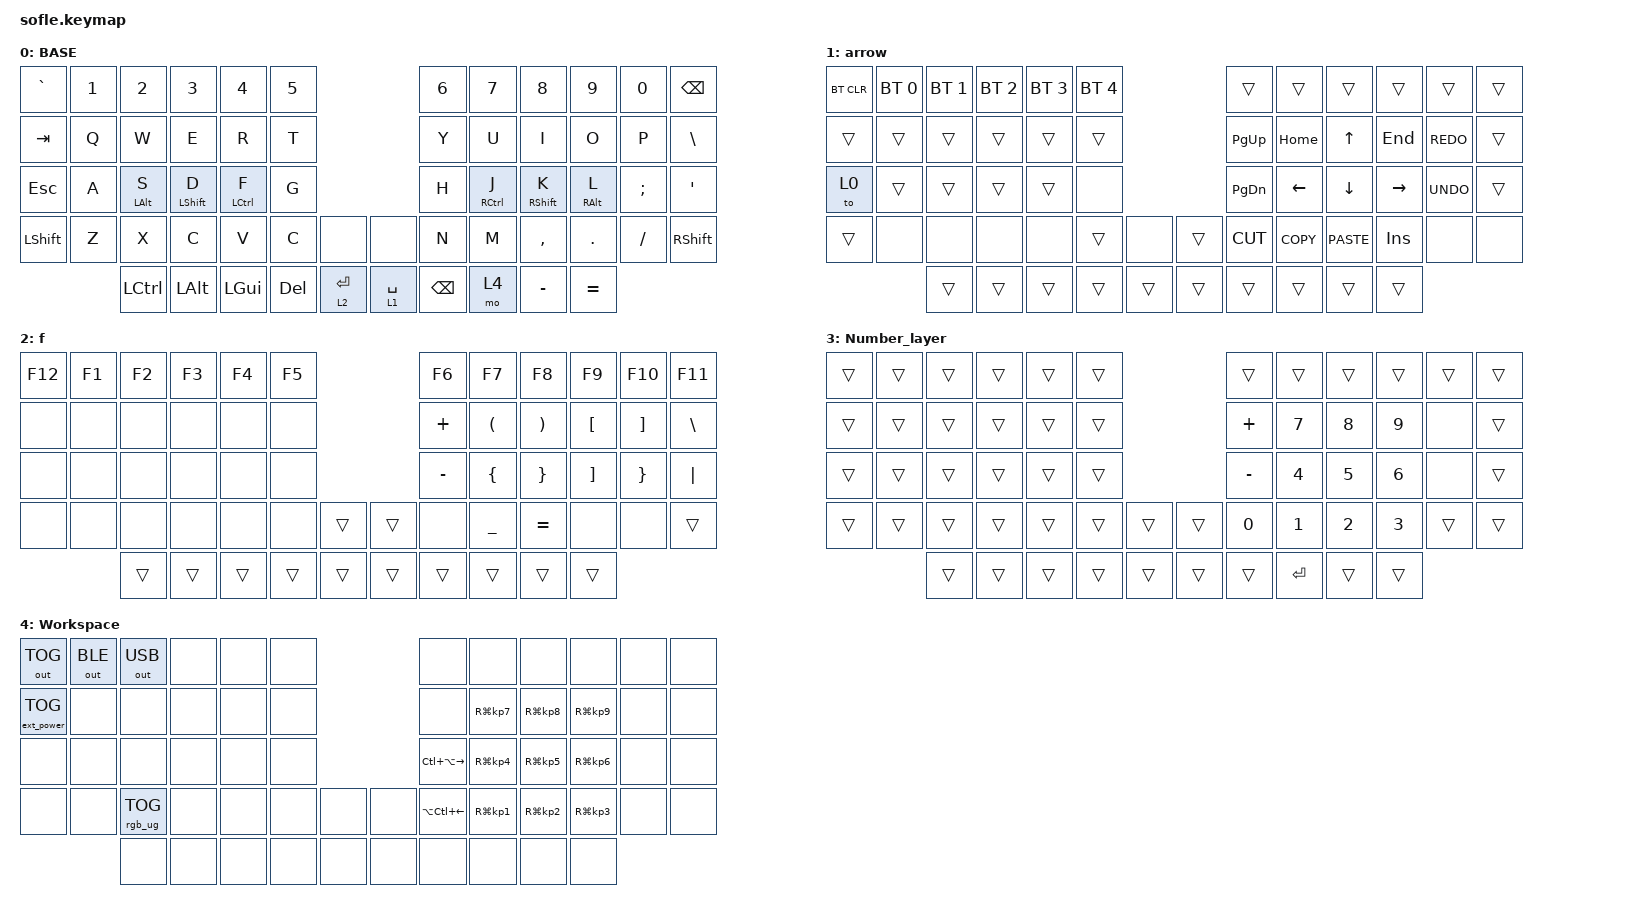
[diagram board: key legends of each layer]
/*
 * Copyright (c) 2020 The ZMK Contributors
 *
 * SPDX-License-Identifier: MIT
 */

#include <behaviors.dtsi>
#include <dt-bindings/zmk/bt.h>
#include <dt-bindings/zmk/ext_power.h>
#include <dt-bindings/zmk/keys.h>
#include <dt-bindings/zmk/outputs.h>
#include <dt-bindings/zmk/rgb.h>

#define BASE 0
#define LOWER 1
#define RAISE 2
#define ADJUST 3
#define GAME 4

/ {
    // Activate ADJUST layer by pressing raise and lower

    conditional_layers {
        compatible = "zmk,conditional-layers";

        adjust_layer {
            if-layers = <1 5>;
            then-layer = <5>;
        };
    };

    behaviors {
        thh: thh {
            compatible = "zmk,behavior-hold-tap";
            label = "TAP_HOLD_HOME_ROW";
            bindings = <&kp>, <&kp>;

            #binding-cells = <2>;
            tapping-term-ms = <200>;
        };
    };

    keymap {
        compatible = "zmk,keymap";

        default_layer {
            label = "BASE";

            // ------------------------------------------------------------------------------------------------------------
            // |  ESC  |  1  |  2  |  3   |  4   |  5   |                   |  6   |   7   |   8   |  9   |   0   |  BSPC |
            // |  TAB  |  Q  |  W  |  E   |  R   |  T   |                   |  Y   |   U   |   I   |  O   |   P   |   \   |
            // | CAPS  |  A  |  S  |  D   |  F   |  G   |                   |  H   |   J   |   K   |  L   |   ;   |   '   |
            // | SHIFT |  Z  |  X  |  C   |  V   |  B   |        |  |       |  N   |   M   |   ,   |  .   |   /   | SHIFT |
            //               |CTRL | ALT  | LGUI | LOWER|  ENTER |  | SPACE | RAISE| CTRL  | LOCK  | DEL  |

            bindings = <
&kp GRAVE   &kp N1  &kp N2           &kp N3         &kp N4        &kp N5                             &kp N6         &kp N7        &kp N8         &kp N9            &kp N0    &kp BSPC
&kp TAB     &kp Q   &kp W            &kp E          &kp R         &kp T                              &kp Y          &kp U         &kp I          &kp O             &kp P     &kp BSLH
&kp ESCAPE  &kp A   &thh LEFT_ALT S  &thh LSHIFT D  &thh LCTRL F  &kp G                              &kp H          &thh RCTRL J  &thh RSHIFT K  &thh RIGHT_ALT L  &kp SEMI  &kp SQT
&kp LSHFT   &kp Z   &kp X            &kp C          &kp V         &kp C    &none        &none        &kp N          &kp M         &kp COMMA      &kp DOT           &kp FSLH  &kp RSHFT
                    &kp LCTRL        &kp LALT       &kp LGUI      &kp DEL  &lt 2 RET    &lt 1 SPACE  &kp BACKSPACE  &mo 4         &kp MINUS      &kp EQUAL
            >;
        };

        arrow_layer {
            label = "arrow";

            // ------------------------------------------------------------------------------------------------------------
            // |BTCLR | BT1  | BT2  |  BT3  |  BT4  |  BT5 |                |      |      |       |      |       |       |
            // |      |      |      |       |       |      |                | PGUP |      |   ^   |      |       |       |
            // |      |      |      |       |       | CAPS |                | PGDN |   <- |   v   |  ->  |       |       |
            // |      | UNDO | CUT  | COPY  | PASTE |      |      |  |      | HOME |      |       |      | END   |       |
            //               |      |       |       |      |      |  |      |      |      |       |      |

            bindings = <
&bt BT_CLR  &bt BT_SEL 0  &bt BT_SEL 1  &bt BT_SEL 2  &bt BT_SEL 3  &bt BT_SEL 4                    &trans     &trans      &trans       &trans      &trans      &trans
&trans      &trans        &trans        &trans        &trans        &trans                          &kp PG_UP  &kp HOME    &kp UP       &kp END     &kp K_REDO  &trans
&to 0       &trans        &trans        &trans        &trans        &none                           &kp PG_DN  &kp LEFT    &kp DOWN     &kp RIGHT   &kp K_UNDO  &trans
&trans      &none         &none         &none         &none         &trans        &none     &trans  &kp K_CUT  &kp K_COPY  &kp K_PASTE  &kp INSERT  &none       &none
                          &trans        &trans        &trans        &trans        &trans    &trans  &trans     &trans      &trans       &trans
            >;
        };

        f_layer {
            label = "f";

            // TODO: Some binds are waiting for shifted keycode support.
            // ------------------------------------------------------------------------------------------------------------
            // | `~   |  F1  |  F2  |  F3  |  F4  |  F5  |                   |  F6  |  F7   |  F8   |  F9  |  F10  |  F11  |
            // |      |      |      |      |      |      |                   | F12  |   -   |   =   |   [  |   ]   |   \   |
            // |      |      |      |      |      |      |                   |      |   _   |   +   |   {  |   }   |   |   |
            // |      |      |      |      |      |      |        |  |       | HOME |       |       |      |  END  |       |
            //               |      |      |      |      |        |  |       |      |       |       |      |

            bindings = <
&kp F12  &kp F1  &kp F2  &kp F3  &kp F4  &kp F5                    &kp F6     &kp F7                &kp F8                 &kp F9             &kp F10   &kp F11
&none    &none   &none   &none   &none   &none                     &kp PLUS   &kp LEFT_PARENTHESIS  &kp RIGHT_PARENTHESIS  &kp LEFT_BRACKET   &kp RBKT  &kp BSLH
&none    &none   &none   &none   &none   &none                     &kp MINUS  &kp LEFT_BRACE        &kp RIGHT_BRACE        &kp RIGHT_BRACKET  &kp RBRC  &kp PIPE
&none    &none   &none   &none   &none   &none   &trans    &trans  &none      &kp UNDER             &kp EQUAL              &none              &none     &trans
                 &trans  &trans  &trans  &trans  &trans    &trans  &trans     &trans                &trans                 &trans
            >;
        };

        Number_layer {
            bindings = <
&trans  &trans  &trans  &trans  &trans  &trans                    &trans     &trans     &trans  &trans  &trans  &trans
&trans  &trans  &trans  &trans  &trans  &trans                    &kp PLUS   &kp N7     &kp N8  &kp N9  &none   &trans
&trans  &trans  &trans  &trans  &trans  &trans                    &kp MINUS  &kp N4     &kp N5  &kp N6  &none   &trans
&trans  &trans  &trans  &trans  &trans  &trans  &trans    &trans  &kp N0     &kp N1     &kp N2  &kp N3  &trans  &trans
                &trans  &trans  &trans  &trans  &trans    &trans  &trans     &kp ENTER  &trans  &trans
            >;
        };

        Workspace_layer {
            label = "Workspace";
            bindings = <
&out OUT_TOG       &out OUT_BLE  &out OUT_USB     &none  &none  &none                  &none                   &none                &none                &none                &none  &none
&ext_power EP_TOG  &none         &none            &none  &none  &none                  &none                   &kp RG(KP_NUMBER_7)  &kp RG(KP_NUMBER_8)  &kp RG(KP_NUMBER_9)  &none  &none
&none              &none         &none            &none  &none  &none                  &kp LC(LA(RIGHT))       &kp RG(KP_NUMBER_4)  &kp RG(KP_NUMBER_5)  &kp RG(KP_NUMBER_6)  &none  &none
&none              &none         &rgb_ug RGB_TOG  &none  &none  &none  &none    &none  &kp LA(LC(LEFT_ARROW))  &kp RG(KP_NUMBER_1)  &kp RG(KP_NUMBER_2)  &kp RG(KP_NUMBER_3)  &none  &none
                                 &none            &none  &none  &none  &none    &none  &none                   &none                &none                &none
            >;
        };
    };
};
